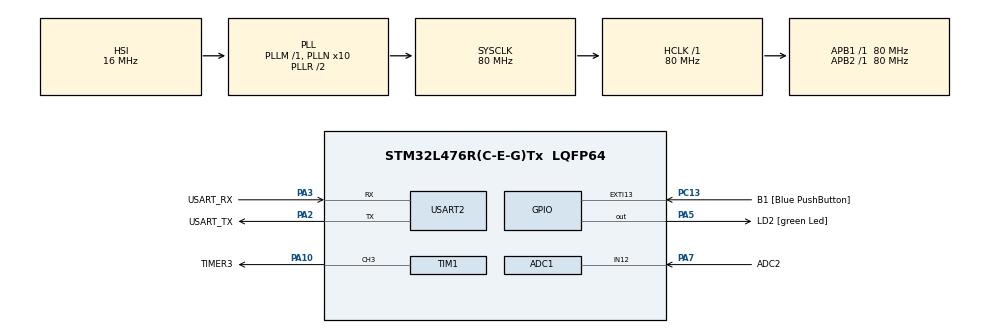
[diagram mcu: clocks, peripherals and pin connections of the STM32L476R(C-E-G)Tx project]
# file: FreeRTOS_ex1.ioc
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ADC1.Channel-1\#ChannelRegularConversion=ADC_CHANNEL_12
ADC1.ClockPrescaler=ADC_CLOCK_ASYNC_DIV8
ADC1.ContinuousConvMode=DISABLE
ADC1.ExternalTrigConv=ADC_EXTERNALTRIG_T6_TRGO
ADC1.NbrOfConversionFlag=1
ADC1.OffsetNumber-1\#ChannelRegularConversion=ADC_OFFSET_NONE
ADC1.Overrun=ADC_OVR_DATA_PRESERVED
ADC1.Rank-1\#ChannelRegularConversion=1
ADC1.SamplingTime-1\#ChannelRegularConversion=ADC_SAMPLETIME_640CYCLES_5
ADC1.master=1
Mcu.Family=STM32L4
Mcu.Name=STM32L476R(C-E-G)Tx
Mcu.Package=LQFP64
Mcu.UserConstants=TIM_PRESCALER,7999;TIM_PERIOD,9999
NVIC.PriorityGroup=NVIC_PRIORITYGROUP_4
NVIC.TIM6_DAC_IRQn=true\:0\:0\:false\:false\:true\:true\:true
PA10.GPIO_Label=TIMER3
PA10.Signal=S_TIM1_CH3
PA13\ (JTMS-SWDIO).GPIO_Label=TMS
PA13\ (JTMS-SWDIO).Mode=Serial_Wire
PA13\ (JTMS-SWDIO).Signal=SYS_JTMS-SWDIO
PA14\ (JTCK-SWCLK).GPIO_Label=TCK
PA14\ (JTCK-SWCLK).Mode=Serial_Wire
PA14\ (JTCK-SWCLK).Signal=SYS_JTCK-SWCLK
PA2.GPIO_Label=USART_TX
PA2.GPIO_Mode=GPIO_MODE_AF_PP
PA2.GPIO_PuPd=GPIO_NOPULL
PA2.GPIO_Speed=GPIO_SPEED_FREQ_VERY_HIGH
PA2.Mode=Asynchronous
PA2.Signal=USART2_TX
PA3.GPIO_Label=USART_RX
PA3.GPIO_Mode=GPIO_MODE_AF_PP
PA3.GPIO_PuPd=GPIO_NOPULL
PA3.GPIO_Speed=GPIO_SPEED_FREQ_VERY_HIGH
PA3.Mode=Asynchronous
PA3.Signal=USART2_RX
PA5.GPIO_Label=LD2 [green Led]
PA5.GPIO_ModeDefaultOutputPP=GPIO_MODE_OUTPUT_PP
PA5.GPIO_PuPd=GPIO_NOPULL
PA5.GPIO_Speed=GPIO_SPEED_FREQ_LOW
PA5.Signal=GPIO_Output
PA7.GPIO_Label=ADC2
PA7.Signal=ADCx_IN12
PB3\ (JTDO-TRACESWO).GPIO_Label=SWO
PB3\ (JTDO-TRACESWO).Signal=SYS_JTDO-SWO
PC13.GPIO_Label=B1 [Blue PushButton]
PC13.GPIO_ModeDefaultEXTI=GPIO_MODE_IT_FALLING
PC13.GPIO_PuPd=GPIO_NOPULL
PC13.Signal=GPXTI13
PC14-OSC32_IN\ (PC14).Mode=LSE-External-Oscillator
PC14-OSC32_IN\ (PC14).Signal=RCC_OSC32_IN
PC15-OSC32_OUT\ (PC15).Mode=LSE-External-Oscillator
PC15-OSC32_OUT\ (PC15).Signal=RCC_OSC32_OUT
PH0-OSC_IN\ (PH0).Signal=RCC_OSC_IN
PH1-OSC_OUT\ (PH1).Signal=RCC_OSC_OUT
ProjectManager.HeapSize=0x200
ProjectManager.StackSize=0x400
ProjectManager.TargetToolchain=STM32CubeIDE
RCC.ADCFreq_Value=64000000
RCC.AHBFreq_Value=80000000
RCC.APB1Freq_Value=80000000
RCC.APB1TimFreq_Value=80000000
RCC.APB2Freq_Value=80000000
RCC.APB2TimFreq_Value=80000000
RCC.CortexFreq_Value=80000000
RCC.HCLKFreq_Value=80000000
RCC.HSE_VALUE=8000000
RCC.HSI_VALUE=16000000
RCC.MSI_VALUE=4000000
RCC.PLLN=10
RCC.PLLSourceVirtual=RCC_PLLSOURCE_HSI
RCC.PREFETCH_ENABLE=1
RCC.SYSCLKFreq_VALUE=80000000
RCC.SYSCLKSource=RCC_SYSCLKSOURCE_PLLCLK
RCC.USBFreq_Value=64000000
RCC.VCOOutputFreq_Value=160000000
SH.ADCx_IN12.0=ADC1_IN12,IN12-Single-Ended
SH.S_TIM1_CH3.0=TIM1_CH3,PWM Generation3 CH3
TIM1.Channel-PWM\ Generation3\ CH3=TIM_CHANNEL_3
TIM1.Period=5999
TIM1.Prescaler=39999
TIM1.Pulse-PWM\ Generation3\ CH3=2999
TIM6.Period=TIM_PERIOD
TIM6.Prescaler=TIM_PRESCALER
TIM6.TIM_MasterOutputTrigger=TIM_TRGO_UPDATE
USART2.VirtualMode-Asynchronous=VM_ASYNC
VP_TIM6_VS_ClockSourceINT.Mode=Enable_Timer
board=NUCLEO-L476RG

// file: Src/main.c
/* USER CODE BEGIN Header */
/**
 ******************************************************************************
 * @file           : main.c
 * @brief          : Main program body
 ******************************************************************************
 * @attention
 *
 * <h2><center>&copy; Copyright (c) 2019 STMicroelectronics.
 * All rights reserved.</center></h2>
 *
 * This software component is licensed by ST under BSD 3-Clause license,
 * the "License"; You may not use this file except in compliance with the
 * License. You may obtain a copy of the License at:
 *                        opensource.org/licenses/BSD-3-Clause
 *
 ******************************************************************************
 */
/* USER CODE END Header */
#include "main.h"
#include "adc.h"
#include "tim.h"
#include "usart.h"
#include "gpio.h"

/* USER CODE BEGIN Includes */

// --> include all necessary headers for
// printf() redirection
#include "stdio.h"
#include "FreeRTOS.h"
#include "task.h"
#include "semphr.h"
#include "event_groups.h"
// FreeRTOS related headers
/* USER CODE END Includes */

void SystemClock_Config(void);

/* USER CODE BEGIN 0 */
volatile uint8_t adc_flag = 0;
uint16_t measurement;
SemaphoreHandle_t mutex;
EventGroupHandle_t measurementReadyEventGroup;

int _write(int file, char *ptr, int len) {
	HAL_UART_Transmit(&huart2, (uint8_t *) ptr, len, 50);
	return len;
}

void measureTask(void *args) {
	TickType_t xLastWakeTime;
	xLastWakeTime = xTaskGetTickCount();
	for (;;) {
		vTaskDelayUntil(&xLastWakeTime, pdMS_TO_TICKS(1000));
//		HAL_ADC_Start(&hadc1);
		if(HAL_ADC_PollForConversion(&hadc1, 10) == HAL_OK) {
			if(xSemaphoreTake(mutex, portMAX_DELAY) == pdTRUE) {
				measurement = HAL_ADC_GetValue(&hadc1);
				xSemaphoreGive(mutex);
				xEventGroupSetBits(measurementReadyEventGroup, 0x01);
			}
		}
	}
}

void commTask(void *args) {
//	TickType_t xLastWakeTime;
//	xLastWakeTime = xTaskGetTickCount();
	uint16_t adc_value = 0;
	for (;;) {
		EventBits_t bits = xEventGroupWaitBits(measurementReadyEventGroup, 0x01,
					                                               pdTRUE, pdFALSE, pdMS_TO_TICKS(400));
//		vTaskDelayUntil(&xLastWakeTime, pdMS_TO_TICKS(1000));
		if (bits & 0x01) {
		    xSemaphoreTake(mutex, portMAX_DELAY);
		    adc_value = measurement;
		    xSemaphoreGive(mutex);
		    printf("[FreeRTOS2] ADC: %d, Time: %d ms\n\r", adc_value, HAL_GetTick());
		}
		else {
			printf("no new data\n\r");
		}

	}
}

/* USER CODE END 0 */

int main(void)
{

  /* MCU Configuration--------------------------------------------------------*/

  /* Reset of all peripherals, Initializes the Flash interface and the Systick. */
  HAL_Init();

  /* Configure the system clock */
  SystemClock_Config();

  /* Initialize all configured peripherals */
  MX_GPIO_Init();
  MX_USART2_UART_Init();
  MX_ADC1_Init();
  MX_TIM6_Init();
  MX_TIM1_Init();
  /* USER CODE BEGIN 2 */
	// --> start TIM1, channel 3 in PWM generation mode, no interrupts
	HAL_TIM_PWM_Start(&htim1, TIM_CHANNEL_3);
	// --> start TIM6 in interrupt mode
//	HAL_TIM_Base_Start_IT(&htim6);
	HAL_TIM_Base_Start_IT(&htim6);
	// --> start ADC1
	HAL_ADC_Start(&hadc1);
	// --> create a mutex
	mutex = xSemaphoreCreateMutex();
	// --> create all necessary tasks
	xTaskCreate(measureTask, "MeasureTask", 128, NULL, 1, NULL);
	xTaskCreate(commTask, "CommTask", 128, NULL, 1, NULL);
	printf("Starting!\r\n");
	// --> start FreeRTOS scheduler
	measurementReadyEventGroup = xEventGroupCreate();
	vTaskStartScheduler();
  /* USER CODE END 2 */

  /* Infinite loop */
  /* USER CODE BEGIN WHILE */
	while (1) {
//		HAL_ADC_Start(&hadc1);
//		if(HAL_ADC_PollForConversion(&hadc1, 10) == HAL_OK){
//			measurement = HAL_ADC_GetValue(&hadc1);
//			printf("ADC: %d, time: %d\n\r", measurement, HAL_GetTick());
//		}
//		HAL_Delay(1000);

    /* USER CODE END WHILE */

	}
}

void SystemClock_Config(void)
{
  RCC_OscInitTypeDef RCC_OscInitStruct = {0};
  RCC_ClkInitTypeDef RCC_ClkInitStruct = {0};
  RCC_PeriphCLKInitTypeDef PeriphClkInit = {0};

  /** Initializes the RCC Oscillators according to the specified parameters
  * in the RCC_OscInitTypeDef structure.
  */
  RCC_OscInitStruct.OscillatorType = RCC_OSCILLATORTYPE_HSI;
  RCC_OscInitStruct.HSIState = RCC_HSI_ON;
  RCC_OscInitStruct.HSICalibrationValue = RCC_HSICALIBRATION_DEFAULT;
  RCC_OscInitStruct.PLL.PLLState = RCC_PLL_ON;
  RCC_OscInitStruct.PLL.PLLSource = RCC_PLLSOURCE_HSI;
  RCC_OscInitStruct.PLL.PLLM = 1;
  RCC_OscInitStruct.PLL.PLLN = 10;
  RCC_OscInitStruct.PLL.PLLP = RCC_PLLP_DIV7;
  RCC_OscInitStruct.PLL.PLLQ = RCC_PLLQ_DIV2;
  RCC_OscInitStruct.PLL.PLLR = RCC_PLLR_DIV2;
  if (HAL_RCC_OscConfig(&RCC_OscInitStruct) != HAL_OK)
  {
    Error_Handler();
  }
  /** Initializes the CPU, AHB and APB buses clocks
  */
  RCC_ClkInitStruct.ClockType = RCC_CLOCKTYPE_HCLK|RCC_CLOCKTYPE_SYSCLK
                              |RCC_CLOCKTYPE_PCLK1|RCC_CLOCKTYPE_PCLK2;
  RCC_ClkInitStruct.SYSCLKSource = RCC_SYSCLKSOURCE_PLLCLK;
  RCC_ClkInitStruct.AHBCLKDivider = RCC_SYSCLK_DIV1;
  RCC_ClkInitStruct.APB1CLKDivider = RCC_HCLK_DIV1;
  RCC_ClkInitStruct.APB2CLKDivider = RCC_HCLK_DIV1;

  if (HAL_RCC_ClockConfig(&RCC_ClkInitStruct, FLASH_LATENCY_4) != HAL_OK)
  {
    Error_Handler();
  }
  PeriphClkInit.PeriphClockSelection = RCC_PERIPHCLK_USART2|RCC_PERIPHCLK_ADC;
  PeriphClkInit.Usart2ClockSelection = RCC_USART2CLKSOURCE_PCLK1;
  PeriphClkInit.AdcClockSelection = RCC_ADCCLKSOURCE_PLLSAI1;
  PeriphClkInit.PLLSAI1.PLLSAI1Source = RCC_PLLSOURCE_HSI;
  PeriphClkInit.PLLSAI1.PLLSAI1M = 1;
  PeriphClkInit.PLLSAI1.PLLSAI1N = 8;
  PeriphClkInit.PLLSAI1.PLLSAI1P = RCC_PLLP_DIV7;
  PeriphClkInit.PLLSAI1.PLLSAI1Q = RCC_PLLQ_DIV2;
  PeriphClkInit.PLLSAI1.PLLSAI1R = RCC_PLLR_DIV2;
  PeriphClkInit.PLLSAI1.PLLSAI1ClockOut = RCC_PLLSAI1_ADC1CLK;
  if (HAL_RCCEx_PeriphCLKConfig(&PeriphClkInit) != HAL_OK)
  {
    Error_Handler();
  }
  /** Configure the main internal regulator output voltage
  */
  if (HAL_PWREx_ControlVoltageScaling(PWR_REGULATOR_VOLTAGE_SCALE1) != HAL_OK)
  {
    Error_Handler();
  }
}

void Error_Handler(void)
{
}

/************************ (C) COPYRIGHT STMicroelectronics *****END OF FILE****/
